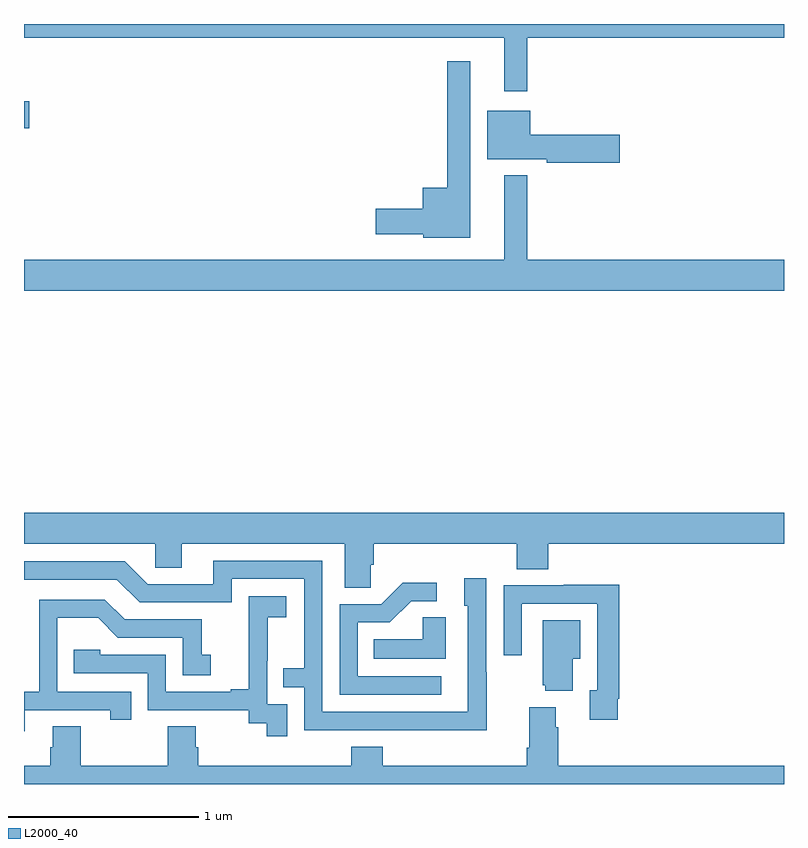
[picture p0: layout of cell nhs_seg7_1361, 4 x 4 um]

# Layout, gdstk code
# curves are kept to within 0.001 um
import gdstk
lib = gdstk.Library(unit=1e-6, precision=1e-09)
def R(c, l, rs):  # rectangles x0, y0, x1, y1
    for r in rs: c.add(gdstk.rectangle(r[:2], r[2:], *l))
def P(c, l, *ps):  # polygons
    for p in ps: c.add(gdstk.Polygon(p, *l))
L2000_40 = (2000, 40)

nhs_seg7_1361 = lib.new_cell('nhs_seg7_1361')
R(nhs_seg7_1361, L2000_40, [(205,1021.451,205.027,1021.593)])
P(nhs_seg7_1361, L2000_40, [(207.649,1021.928),(209,1021.928),(209,1022),(205,1022),(205,1021.928),(207.527,1021.928),(207.527,1021.647),(207.649,1021.647)],
  [(207.349,1021.804),(207.228,1021.804),(207.228,1021.138),(207.098,1021.138),(207.098,1021.028),(206.85,1021.028),(206.85,1020.893),(207.102,1020.893),(207.102,1020.875),(207.349,1020.875)],
  [(208.135,1021.418),(207.664,1021.418),(207.664,1021.543),(207.437,1021.543),(207.437,1021.289),(207.75,1021.289),(207.75,1021.271),(208.135,1021.271)],
  [(209,1020.76),(207.649,1020.76),(207.649,1021.204),(207.527,1021.204),(207.527,1020.76),(205,1020.76),(205,1020.596),(209,1020.596)],
  [(206.826,1019.155),(206.84,1019.155),(206.84,1019.264),(207.593,1019.264),(207.593,1019.131),(207.758,1019.131),(207.758,1019.264),(209,1019.264),(209,1019.428),(205,1019.428),(205,1019.264),(205.692,1019.264),(205.692,1019.137),(205.831,1019.137),(205.831,1019.264),(206.687,1019.264),(206.687,1019.032),(206.826,1019.032)],
  [(207.435,1018.589),(207.432,1018.589),(207.432,1019.083),(207.317,1019.083),(207.317,1018.938),(207.336,1018.938),(207.336,1018.38),(206.571,1018.38),(206.571,1019.175),(205.997,1019.175),(205.997,1019.052),(205.65,1019.052),(205.53,1019.172),(205,1019.172),(205,1019.076),(205.488,1019.076),(205.608,1018.956),(206.094,1018.956),(206.094,1019.079),(206.475,1019.079),(206.475,1018.61),(206.365,1018.61),(206.365,1018.509),(206.475,1018.509),(206.475,1018.284),(207.435,1018.283)],
  [(207.196,1018.566),(206.757,1018.566),(206.757,1018.851),(206.926,1018.851),(207.037,1018.962),(207.172,1018.962),(207.172,1019.06),(206.993,1019.06),(206.88,1018.947),(206.661,1018.947),(206.661,1018.47),(207.196,1018.47)],
  [(208.126,1018.45),(208.133,1018.45),(208.133,1019.048),(207.841,1019.048),(207.841,1019.046),(207.525,1019.046),(207.525,1018.677),(207.621,1018.677),(207.621,1018.95),(208.017,1018.95),(208.017,1018.494),(207.977,1018.494),(207.977,1018.338),(208.126,1018.338)],
  [(206.385,1018.419),(206.28,1018.419),(206.28,1018.649),(206.282,1018.649),(206.282,1018.877),(206.38,1018.877),(206.38,1018.987),(206.182,1018.987),(206.182,1018.781),(206.183,1018.781),(206.183,1018.498),(206.087,1018.498),(206.087,1018.485),(205.746,1018.485),(205.746,1018.68),(205.401,1018.68),(205.401,1018.707),(205.261,1018.707),(205.261,1018.584),(205.65,1018.584),(205.65,1018.389),(206.184,1018.389),(206.184,1018.321),(206.277,1018.321),(206.277,1018.251),(206.385,1018.251)],
  [(205.003,1018.389),(205.454,1018.389),(205.454,1018.338),(205.565,1018.338),(205.565,1018.485),(205.176,1018.485),(205.176,1018.874),(205.39,1018.874),(205.494,1018.77),(205.836,1018.77),(205.836,1018.572),(205.984,1018.572),(205.984,1018.681),(205.935,1018.681),(205.935,1018.866),(205.531,1018.866),(205.426,1018.971),(205.08,1018.971),(205.08,1018.485),(205,1018.485),(205,1018.278),(205.003,1018.278)],
  [(207.22,1018.877),(207.099,1018.877),(207.099,1018.762),(206.842,1018.762),(206.842,1018.658),(207.22,1018.658)],
  [(207.889,1018.658),(207.928,1018.658),(207.928,1018.861),(207.731,1018.861),(207.731,1018.521),(207.743,1018.521),(207.743,1018.49),(207.889,1018.49)],
  [(209,1018.096),(207.812,1018.096),(207.812,1018.298),(207.799,1018.298),(207.799,1018.405),(207.659,1018.405),(207.659,1018.192),(207.647,1018.192),(207.647,1018.096),(206.888,1018.096),(206.888,1018.195),(206.723,1018.195),(206.723,1018.096),(205.916,1018.096),(205.916,1018.194),(205.903,1018.194),(205.903,1018.304),(205.756,1018.304),(205.756,1018.096),(205.299,1018.096),(205.299,1018.304),(205.151,1018.304),(205.151,1018.194),(205.139,1018.194),(205.139,1018.096),(205,1018.096),(205,1018),(209,1018)])

lib.write_gds('nhs_seg7_1361.gds')
